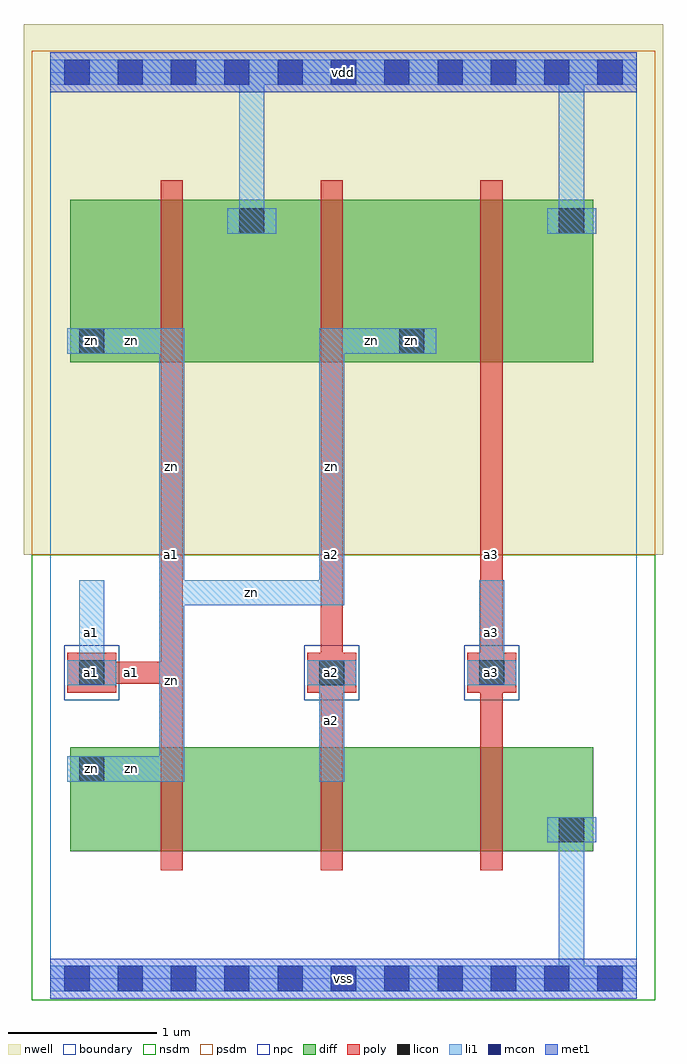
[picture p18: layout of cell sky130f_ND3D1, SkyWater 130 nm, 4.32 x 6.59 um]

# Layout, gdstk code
import gdstk
lib = gdstk.Library(unit=1e-6, precision=1e-09)
def R(c, l, rs):  # rectangles x0, y0, x1, y1
    for r in rs: c.add(gdstk.rectangle(r[:2], r[2:], *l))
def A(c, l, x, y, w, h, nx, ny, dx, dy):  # array of equal rectangles
    R(c, l, [(x+i*dx, y+j*dy, x+i*dx+w, y+j*dy+h) for i in range(nx) for j in range(ny)])
L0_0 = (0, 0)
nwell = (64, 20)
diff = (65, 20)
poly = (66, 20)
licon = (66, 44)
li1 = (67, 20)
mcon = (67, 44)
met1 = (68, 20)
nsdm = (93, 44)
psdm = (94, 20)
npc = (95, 20)
boundary = (235, 4)

sky130f_nd3d1 = lib.new_cell('sky130f_ND3D1')
R(sky130f_nd3d1, nwell, [(-0.18,2.86,4.14,6.445)])
A(sky130f_nd3d1, diff, 0.135, 0.86, 1.37, 0.7, 3, 1, 1.08, 0)
A(sky130f_nd3d1, diff, 0.135, 4.16, 1.37, 1.1, 3, 1, 1.08, 0)
R(sky130f_nd3d1, diff, [(3.375,0.86,3.665,1.15), (0.135,1.27,0.425,1.56), (0.135,4.16,0.425,4.45), (2.295,4.16,2.585,4.45), (1.215,4.97,1.505,5.26), (3.375,4.97,3.665,5.26)])
A(sky130f_nd3d1, poly, 0.745, 0.73, 0.15, 0.96, 3, 1, 1.08, 0)
A(sky130f_nd3d1, poly, 0.745, 1.34, 0.15, 3.04, 3, 1, 1.08, 0)
A(sky130f_nd3d1, poly, 0.745, 4.03, 0.15, 1.36, 3, 1, 1.08, 0)
R(sky130f_nd3d1, poly, [(0.115,1.93,0.445,2.2), (1.735,1.93,2.065,2.2), (2.815,1.93,3.145,2.2), (0.205,1.99,0.895,2.14)])
R(sky130f_nd3d1, licon, [(3.435,0.92,3.605,1.09), (0.195,1.33,0.365,1.5), (0.195,1.98,0.365,2.15), (1.815,1.98,1.985,2.15), (2.895,1.98,3.065,2.15), (0.195,4.22,0.365,4.39), (2.355,4.22,2.525,4.39), (1.275,5.03,1.445,5.2), (3.435,5.03,3.605,5.2)])
R(sky130f_nd3d1, li1, [(0,-0.085,3.96,0.085), (3.435,0.06,3.605,1.09), (3.355,0.92,3.685,1.09), (0.115,1.33,0.445,1.5), (0.195,1.33,0.905,1.5), (0.735,1.33,0.905,2.69), (1.815,1.33,1.985,2.15), (0.115,1.98,0.445,2.15), (0.195,1.98,0.365,2.69), (1.735,1.98,2.065,2.15), (2.815,1.98,3.145,2.15), (2.895,1.98,3.065,2.69), (0.735,2.52,1.985,2.69), (0.735,2.52,0.905,4.39), (1.815,2.52,1.985,4.39), (0.115,4.22,0.445,4.39), (0.195,4.22,0.905,4.39), (1.815,4.22,2.525,4.39), (2.275,4.22,2.605,4.39), (1.195,5.03,1.525,5.2), (1.275,5.03,1.445,6.06), (3.355,5.03,3.685,5.2), (3.435,5.03,3.605,6.06), (0,6.035,3.96,6.205)])
A(sky130f_nd3d1, mcon, 0.095, -0.085, 0.17, 0.17, 11, 2, 0.36, 6.12)
R(sky130f_nd3d1, met1, [(0,-0.135,3.96,0.135), (0,5.985,3.96,6.255)])
R(sky130f_nd3d1, nsdm, [(-0.125,-0.145,4.085,0.145), (-0.125,0.145,4.085,2.86)])
R(sky130f_nd3d1, psdm, [(-0.125,2.86,4.085,5.975), (-0.125,5.975,4.085,6.265)])
R(sky130f_nd3d1, npc, [(0.095,1.88,0.465,2.25), (1.715,1.88,2.085,2.25), (2.795,1.88,3.165,2.25)])
R(sky130f_nd3d1, boundary, [(0,0,3.96,6.12)])
sky130f_nd3d1.add(gdstk.FlexPath([(0.115,0.355),(3.685,0.355)], 0, ends="flush", simple_path=True, layer=0, datatype=0))  # L0_0
sky130f_nd3d1.add(gdstk.FlexPath([(0.115,1.005),(3.685,1.005)], 0, ends="flush", simple_path=True, layer=0, datatype=0))  # L0_0
sky130f_nd3d1.add(gdstk.FlexPath([(0.115,1.415),(3.685,1.415)], 0, ends="flush", simple_path=True, layer=0, datatype=0))  # L0_0
sky130f_nd3d1.add(gdstk.FlexPath([(0.115,2.065),(3.685,2.065)], 0, ends="flush", simple_path=True, layer=0, datatype=0))  # L0_0
sky130f_nd3d1.add(gdstk.FlexPath([(0.115,2.605),(3.685,2.605)], 0, ends="flush", simple_path=True, layer=0, datatype=0))  # L0_0
sky130f_nd3d1.add(gdstk.FlexPath([(0.115,3.145),(3.685,3.145)], 0, ends="flush", simple_path=True, layer=0, datatype=0))  # L0_0
sky130f_nd3d1.add(gdstk.FlexPath([(0.115,4.305),(3.685,4.305)], 0, ends="flush", simple_path=True, layer=0, datatype=0))  # L0_0
sky130f_nd3d1.add(gdstk.FlexPath([(0.115,4.775),(3.685,4.775)], 0, ends="flush", simple_path=True, layer=0, datatype=0))  # L0_0
sky130f_nd3d1.add(gdstk.FlexPath([(0.115,5.115),(3.685,5.115)], 0, ends="flush", simple_path=True, layer=0, datatype=0))  # L0_0
sky130f_nd3d1.add(gdstk.FlexPath([(0.115,5.765),(3.685,5.765)], 0, ends="flush", simple_path=True, layer=0, datatype=0))  # L0_0
sky130f_nd3d1.add(gdstk.FlexPath([(0.28,0.06),(0.28,6.06)], 0, ends="flush", simple_path=True, layer=0, datatype=0))  # L0_0
sky130f_nd3d1.add(gdstk.FlexPath([(0.82,0.06),(0.82,6.06)], 0, ends="flush", simple_path=True, layer=0, datatype=0))  # L0_0
sky130f_nd3d1.add(gdstk.FlexPath([(1.36,0.06),(1.36,6.06)], 0, ends="flush", simple_path=True, layer=0, datatype=0))  # L0_0
sky130f_nd3d1.add(gdstk.FlexPath([(1.9,0.06),(1.9,6.06)], 0, ends="flush", simple_path=True, layer=0, datatype=0))  # L0_0
sky130f_nd3d1.add(gdstk.FlexPath([(2.44,0.06),(2.44,6.06)], 0, ends="flush", simple_path=True, layer=0, datatype=0))  # L0_0
sky130f_nd3d1.add(gdstk.FlexPath([(2.98,0.06),(2.98,6.06)], 0, ends="flush", simple_path=True, layer=0, datatype=0))  # L0_0
sky130f_nd3d1.add(gdstk.FlexPath([(3.52,0.06),(3.52,6.06)], 0, ends="flush", simple_path=True, layer=0, datatype=0))  # L0_0
sky130f_nd3d1.add(gdstk.Label('zn', (0.28,1.415), layer=65, texttype=20))
sky130f_nd3d1.add(gdstk.Label('zn', (2.44,4.305), layer=65, texttype=20))
sky130f_nd3d1.add(gdstk.Label('zn', (0.28,4.305), layer=65, texttype=20))
sky130f_nd3d1.add(gdstk.Label('a1', (0.82,2.86), layer=66, texttype=20))
sky130f_nd3d1.add(gdstk.Label('a1', (0.55,2.065), layer=66, texttype=20))
sky130f_nd3d1.add(gdstk.Label('a1', (0.28,2.065), layer=66, texttype=20))
sky130f_nd3d1.add(gdstk.Label('a2', (1.9,2.86), layer=66, texttype=20))
sky130f_nd3d1.add(gdstk.Label('a2', (1.9,2.065), layer=66, texttype=20))
sky130f_nd3d1.add(gdstk.Label('a3', (2.98,2.86), layer=66, texttype=20))
sky130f_nd3d1.add(gdstk.Label('a3', (2.98,2.065), layer=66, texttype=20))
sky130f_nd3d1.add(gdstk.Label('zn', (0.28,1.415), layer=66, texttype=44))
sky130f_nd3d1.add(gdstk.Label('zn', (2.44,4.305), layer=66, texttype=44))
sky130f_nd3d1.add(gdstk.Label('zn', (0.28,4.305), layer=66, texttype=44))
sky130f_nd3d1.add(gdstk.Label('a1', (0.28,2.065), layer=66, texttype=44))
sky130f_nd3d1.add(gdstk.Label('a2', (1.9,2.065), layer=66, texttype=44))
sky130f_nd3d1.add(gdstk.Label('a3', (2.98,2.065), layer=66, texttype=44))
sky130f_nd3d1.add(gdstk.Label('zn', (0.28,1.415), layer=67, texttype=5))
sky130f_nd3d1.add(gdstk.Label('zn', (2.44,4.305), layer=67, texttype=5))
sky130f_nd3d1.add(gdstk.Label('zn', (0.28,4.305), layer=67, texttype=5))
sky130f_nd3d1.add(gdstk.Label('zn', (0.55,1.415), layer=67, texttype=5))
sky130f_nd3d1.add(gdstk.Label('zn', (0.82,2.01), layer=67, texttype=5))
sky130f_nd3d1.add(gdstk.Label('zn', (1.36,2.605), layer=67, texttype=5))
sky130f_nd3d1.add(gdstk.Label('zn', (1.9,3.455), layer=67, texttype=5))
sky130f_nd3d1.add(gdstk.Label('zn', (2.17,4.305), layer=67, texttype=5))
sky130f_nd3d1.add(gdstk.Label('zn', (0.82,3.455), layer=67, texttype=5))
sky130f_nd3d1.add(gdstk.Label('zn', (0.55,4.305), layer=67, texttype=5))
sky130f_nd3d1.add(gdstk.Label('a1', (0.28,2.065), layer=67, texttype=5))
sky130f_nd3d1.add(gdstk.Label('a1', (0.28,2.335), layer=67, texttype=5))
sky130f_nd3d1.add(gdstk.Label('a2', (1.9,2.065), layer=67, texttype=5))
sky130f_nd3d1.add(gdstk.Label('a2', (1.9,1.74), layer=67, texttype=5))
sky130f_nd3d1.add(gdstk.Label('a3', (2.98,2.065), layer=67, texttype=5))
sky130f_nd3d1.add(gdstk.Label('a3', (2.98,2.335), layer=67, texttype=5))
sky130f_nd3d1.add(gdstk.Label('vss', (1.98,0), layer=67, texttype=5))
sky130f_nd3d1.add(gdstk.Label('vdd', (1.98,6.12), layer=67, texttype=5))
sky130f_nd3d1.add(gdstk.Label('vss', (1.98,0), layer=68, texttype=5))
sky130f_nd3d1.add(gdstk.Label('vdd', (1.98,6.12), layer=68, texttype=5))

lib.write_gds('sky130f_ND3D1.gds')
